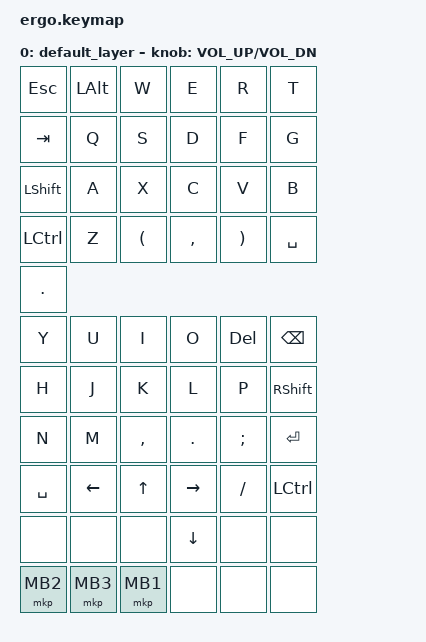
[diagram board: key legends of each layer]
#include <behaviors.dtsi>
#include <dt-bindings/zmk/keys.h>
#include <dt-bindings/zmk/bt.h>
#include <dt-bindings/zmk/pointing.h> /* &mkp for the trackpad buttons */

/ {
    keymap {
        compatible = "zmk,keymap";

        default_layer {
            /*
             * Bindings follow the combined transform in ergo.dtsi:
             * first the 25 LEFT positions, then the 36 RIGHT positions.
             */
            bindings = <
                /* ============ LEFT (positions 0..24) ============ */
                &kp ESC   &kp LALT  &kp W     &kp E     &kp R     &kp T
                &kp TAB   &kp Q     &kp S     &kp D     &kp F     &kp G
                &kp LSHFT &kp A     &kp X     &kp C     &kp V     &kp B
                &kp LCTRL &kp Z     &kp LPAR  &kp COMMA &kp RPAR  &kp SPACE
                &kp DOT

                /* ============ RIGHT (positions 25..60) ============ */
                /* Row 0 */
                &kp Y     &kp U     &kp I     &kp O     &kp DEL   &kp BSPC
                /* Row 1 */
                &kp H     &kp J     &kp K     &kp L     &kp P     &kp RSHFT
                /* Row 2 */
                &kp N     &kp M     &kp COMMA &kp DOT   &kp SEMI  &kp RET
                /* Row 3 */
                &kp SPACE &kp LEFT  &kp UP    &kp RIGHT &kp FSLH  &kp LCTRL
                /* Row 4 */
                &none     &none     &none     &kp DOWN  &none     &none
                /* Row 5 (trackpad buttons) */
                &mkp MB2  &mkp MB3  &mkp MB1  &none     &none     &none
            >;

            /* Encoder lives on the left half; events arrive over the split link. */
            sensor-bindings = <&inc_dec_kp C_VOL_UP C_VOL_DN>;
        };
    };
};
